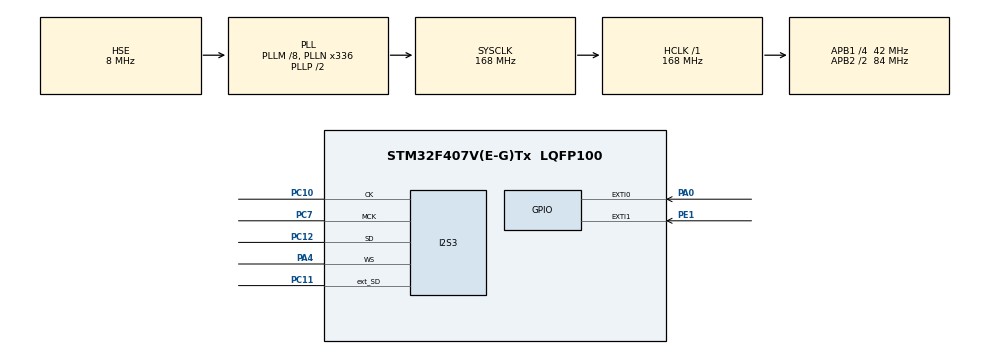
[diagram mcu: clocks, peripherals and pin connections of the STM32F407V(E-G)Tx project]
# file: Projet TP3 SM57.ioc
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I2S3.ErrorAudioFreq=-0.27 %
I2S3.FullDuplexMode=I2S_FULLDUPLEXMODE_ENABLE
I2S3.Instance=SPI$Index
I2S3.RealAudioFreq=7.978 KHz
I2S3.VirtualMode=I2S_MODE_MASTER
Mcu.Family=STM32F4
Mcu.Name=STM32F407V(E-G)Tx
Mcu.Package=LQFP100
NVIC.EXTI0_IRQn=true\:0\:0\:false\:false\:true\:true\:true\:true
NVIC.EXTI1_IRQn=true\:0\:0\:false\:false\:true\:true\:true\:true
NVIC.PriorityGroup=NVIC_PRIORITYGROUP_0
PA0-WKUP.GPIO_ModeDefaultEXTI=GPIO_MODE_IT_RISING_FALLING
PA0-WKUP.Signal=GPXTI0
PA13.Mode=Serial_Wire
PA13.Signal=SYS_JTMS-SWDIO
PA14.Mode=Serial_Wire
PA14.Signal=SYS_JTCK-SWCLK
PA4.Mode=Full_Duplex_Master
PA4.Signal=I2S3_WS
PC10.Mode=Full_Duplex_Master
PC10.Signal=I2S3_CK
PC11.Mode=Full_Duplex_Master
PC11.Signal=I2S3_ext_SD
PC12.Mode=Full_Duplex_Master
PC12.Signal=I2S3_SD
PC7.Mode=Master_Clock_Activated
PC7.Signal=I2S3_MCK
PE1.Signal=GPXTI1
PH0-OSC_IN.Mode=HSE-External-Oscillator
PH0-OSC_IN.Signal=RCC_OSC_IN
PH1-OSC_OUT.Mode=HSE-External-Oscillator
PH1-OSC_OUT.Signal=RCC_OSC_OUT
ProjectManager.HeapSize=0x200
ProjectManager.StackSize=0x400
ProjectManager.TargetToolchain=STM32CubeIDE
RCC.48MHZClocksFreq_Value=48000000
RCC.AHBFreq_Value=168000000
RCC.APB1CLKDivider=RCC_HCLK_DIV4
RCC.APB1Freq_Value=42000000
RCC.APB1TimFreq_Value=84000000
RCC.APB2CLKDivider=RCC_HCLK_DIV2
RCC.APB2Freq_Value=84000000
RCC.APB2TimFreq_Value=168000000
RCC.CortexFreq_Value=168000000
RCC.HCLKFreq_Value=168000000
RCC.HSE_VALUE=8000000
RCC.HSI_VALUE=16000000
RCC.LSE_VALUE=32768
RCC.PLLM=8
RCC.PLLN=336
RCC.PLLQ=7
RCC.PLLSourceVirtual=RCC_PLLSOURCE_HSE
RCC.SYSCLKFreq_VALUE=168000000
RCC.SYSCLKSource=RCC_SYSCLKSOURCE_PLLCLK
RCC.VCOOutputFreq_Value=336000000
VP_RTC_VS_RTC_Activate.Mode=RTC_Enabled
VP_RTC_VS_RTC_Calendar.Mode=RTC_Calendar
board=STM32F407G-DISC1

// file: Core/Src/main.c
/* USER CODE BEGIN Header */
/**
  ******************************************************************************
  * @file           : main.c
  * @brief          : Main program body
  ******************************************************************************
  * @attention
  *
  * Copyright (c) 2024 STMicroelectronics.
  * All rights reserved.
  *
  * This software is licensed under terms that can be found in the LICENSE file
  * in the root directory of this software component.
  * If no LICENSE file comes with this software, it is provided AS-IS.
  *
  ******************************************************************************
  */
/* USER CODE END Header */
#include "main.h"

/* USER CODE BEGIN Includes */
#include<stdio.h>
#include "usart2.h"
#include "rtc.h"
#include "spi.h"
#include "stm32f4xx_hal.h"
#include "accelerometre.h"
#include "dac.h"

/* USER CODE END Includes */

I2S_HandleTypeDef hi2s3;

RTC_HandleTypeDef hrtc;

/* USER CODE BEGIN PV */
int flag_process =0;
int flag_st = 0;
int tempsAppui = 0;
#define DUREE_APPUI_PROLONGE 3000
extern char received_buffer[24];
extern int received_index;
extern float X ;
extern float Y  ;
extern float Z ;

/* USER CODE END PV */

void SystemClock_Config(void);
static void MX_GPIO_Init(void);
static void MX_I2S3_Init(void);
static void MX_RTC_Init(void);

int main(void)
{

  /* MCU Configuration--------------------------------------------------------*/

  /* Reset of all peripherals, Initializes the Flash interface and the Systick. */
  HAL_Init();

  /* Configure the system clock */
  SystemClock_Config();

  /* Initialize all configured peripherals */
  MX_GPIO_Init();
  MX_I2S3_Init();
  MX_RTC_Init();
  /* USER CODE BEGIN 2 */
	//init_usart_int();
	//RTC_Init();
	//init_accel();
	//init_accel_ISR();
	// I2C init
  DAC_GPIO_Init();
	// GPIO init
	//DAC_GPIO_Init();
  MX_I2S3_Init();

  //timer start

  // I2C init
  init_I2C1();
  // GPIO init

  //DAC start
  DAC_Power_Up();
  Beep_Config(SHORT_BEEP, SHORT_SILENCE, HIGH_PITCHED_SOUND);
  /* USER CODE END 2 */

  /* Infinite loop */
  /* USER CODE BEGIN WHILE */
  while (1)
  {
		 Run_Alarm();

    /* USER CODE END WHILE */

    /* USER CODE BEGIN 3 */
	  	//accelReadnPrint(X,Y,Z);
 	/*	if (flag_process)
 		{
 		  process_received_data();
 		  flag_process = 0;
 		}

 		if (flag_st)
 		{
 		  SPIread(0x5F | 0x80);
 		  flag_st = 0;
 		  init_accel_ISR();
 		  //DAC start
 		  DAC_Power_Up();
 		  Beep_Config(MEDIUM_BEEP, SHORT_SILENCE, MEDIUM_SOUND);
 		  Run_Alarm();
 		 newLine();
		 serial_puts("HEURE DU VOL");
		 newLine();
		 serial_puts(RTC_get_time());
		 newLine();
		 serial_puts("JOUR DU VOL");
		 newLine();
		 serial_puts(RTC_get_date());
		 HAL_Delay(1000),
		 newLine();
 		}

   }*/
  /* USER CODE END 3 */
}
}

void SystemClock_Config(void)
{
  RCC_OscInitTypeDef RCC_OscInitStruct = {0};
  RCC_ClkInitTypeDef RCC_ClkInitStruct = {0};

  /** Configure the main internal regulator output voltage
  */
  __HAL_RCC_PWR_CLK_ENABLE();
  __HAL_PWR_VOLTAGESCALING_CONFIG(PWR_REGULATOR_VOLTAGE_SCALE1);

  /** Initializes the RCC Oscillators according to the specified parameters
  * in the RCC_OscInitTypeDef structure.
  */
  RCC_OscInitStruct.OscillatorType = RCC_OSCILLATORTYPE_LSI|RCC_OSCILLATORTYPE_HSE;
  RCC_OscInitStruct.HSEState = RCC_HSE_ON;
  RCC_OscInitStruct.LSIState = RCC_LSI_ON;
  RCC_OscInitStruct.PLL.PLLState = RCC_PLL_ON;
  RCC_OscInitStruct.PLL.PLLSource = RCC_PLLSOURCE_HSE;
  RCC_OscInitStruct.PLL.PLLM = 8;
  RCC_OscInitStruct.PLL.PLLN = 336;
  RCC_OscInitStruct.PLL.PLLP = RCC_PLLP_DIV2;
  RCC_OscInitStruct.PLL.PLLQ = 7;
  if (HAL_RCC_OscConfig(&RCC_OscInitStruct) != HAL_OK)
  {
    Error_Handler();
  }

  /** Initializes the CPU, AHB and APB buses clocks
  */
  RCC_ClkInitStruct.ClockType = RCC_CLOCKTYPE_HCLK|RCC_CLOCKTYPE_SYSCLK
                              |RCC_CLOCKTYPE_PCLK1|RCC_CLOCKTYPE_PCLK2;
  RCC_ClkInitStruct.SYSCLKSource = RCC_SYSCLKSOURCE_PLLCLK;
  RCC_ClkInitStruct.AHBCLKDivider = RCC_SYSCLK_DIV1;
  RCC_ClkInitStruct.APB1CLKDivider = RCC_HCLK_DIV4;
  RCC_ClkInitStruct.APB2CLKDivider = RCC_HCLK_DIV2;

  if (HAL_RCC_ClockConfig(&RCC_ClkInitStruct, FLASH_LATENCY_5) != HAL_OK)
  {
    Error_Handler();
  }
}

static void MX_I2S3_Init(void)
{

  hi2s3.Instance = SPI3;
  hi2s3.Init.Mode = I2S_MODE_MASTER_TX;
  hi2s3.Init.Standard = I2S_STANDARD_PHILIPS;
  hi2s3.Init.DataFormat = I2S_DATAFORMAT_16B;
  hi2s3.Init.MCLKOutput = I2S_MCLKOUTPUT_ENABLE;
  hi2s3.Init.AudioFreq = I2S_AUDIOFREQ_8K;
  hi2s3.Init.CPOL = I2S_CPOL_LOW;
  hi2s3.Init.ClockSource = I2S_CLOCK_PLL;
  hi2s3.Init.FullDuplexMode = I2S_FULLDUPLEXMODE_ENABLE;
  if (HAL_I2S_Init(&hi2s3) != HAL_OK)
  {
    Error_Handler();
  }

}

static void MX_RTC_Init(void)
{

  RTC_TimeTypeDef sTime = {0};
  RTC_DateTypeDef sDate = {0};

  /** Initialize RTC Only
  */
  hrtc.Instance = RTC;
  hrtc.Init.HourFormat = RTC_HOURFORMAT_24;
  hrtc.Init.AsynchPrediv = 127;
  hrtc.Init.SynchPrediv = 255;
  hrtc.Init.OutPut = RTC_OUTPUT_DISABLE;
  hrtc.Init.OutPutPolarity = RTC_OUTPUT_POLARITY_HIGH;
  hrtc.Init.OutPutType = RTC_OUTPUT_TYPE_OPENDRAIN;
  if (HAL_RTC_Init(&hrtc) != HAL_OK)
  {
    Error_Handler();
  }

  /** Initialize RTC and set the Time and Date
  */
  sTime.Hours = 0x0;
  sTime.Minutes = 0x0;
  sTime.Seconds = 0x0;
  sTime.DayLightSaving = RTC_DAYLIGHTSAVING_NONE;
  sTime.StoreOperation = RTC_STOREOPERATION_RESET;
  if (HAL_RTC_SetTime(&hrtc, &sTime, RTC_FORMAT_BCD) != HAL_OK)
  {
    Error_Handler();
  }
  sDate.WeekDay = RTC_WEEKDAY_MONDAY;
  sDate.Month = RTC_MONTH_JANUARY;
  sDate.Date = 0x1;
  sDate.Year = 0x0;

  if (HAL_RTC_SetDate(&hrtc, &sDate, RTC_FORMAT_BCD) != HAL_OK)
  {
    Error_Handler();
  }

}

static void MX_GPIO_Init(void)
{
  GPIO_InitTypeDef GPIO_InitStruct = {0};

  /* GPIO Ports Clock Enable */
  __HAL_RCC_GPIOH_CLK_ENABLE();
  __HAL_RCC_GPIOA_CLK_ENABLE();
  __HAL_RCC_GPIOC_CLK_ENABLE();
  __HAL_RCC_GPIOE_CLK_ENABLE();

  /*Configure GPIO pin : PA0 */
  GPIO_InitStruct.Pin = GPIO_PIN_0;
  GPIO_InitStruct.Mode = GPIO_MODE_IT_RISING_FALLING;
  GPIO_InitStruct.Pull = GPIO_NOPULL;
  HAL_GPIO_Init(GPIOA, &GPIO_InitStruct);

  /*Configure GPIO pin : PE1 */
  GPIO_InitStruct.Pin = GPIO_PIN_1;
  GPIO_InitStruct.Mode = GPIO_MODE_IT_RISING;
  GPIO_InitStruct.Pull = GPIO_NOPULL;
  HAL_GPIO_Init(GPIOE, &GPIO_InitStruct);

  /* EXTI interrupt init*/
  HAL_NVIC_SetPriority(EXTI0_IRQn, 0, 0);
  HAL_NVIC_EnableIRQ(EXTI0_IRQn);

  HAL_NVIC_SetPriority(EXTI1_IRQn, 0, 0);
  HAL_NVIC_EnableIRQ(EXTI1_IRQn);

}

/* USER CODE BEGIN 4 */
void HAL_GPIO_EXTI_Callback(uint16_t GPIO_Pin) {
	/*
if (GPIO_Pin == GPIO_PIN_0) {
	if (HAL_GPIO_ReadPin(GPIOA, GPIO_PIN_0) == GPIO_PIN_SET) {
		// La broche PA0 a déclenché l'interruption et est à l'état haut
		static uint32_t last_interrupt_time = 0;
		uint32_t current_time = HAL_GetTick(); // Get the current system tick
		// Check if enough time has elapsed since the last interrupt
		if (current_time - last_interrupt_time > 200) { // 200ms debounce time
		   for (int i = 0; i < 24; ++i) {
			   received_buffer[i] = 0; // Assignation de zéro à chaque élément du buffer
			}
			received_index = 0;
			flag_process = 1;
			last_interrupt_time = current_time;
			tempsAppui = HAL_GetTick();
		}
	}
	else {
		// La broche PA0 a déclenché l'interruption et est à l'état bas
        if ((HAL_GetTick() - tempsAppui) >= DUREE_APPUI_PROLONGE) {
            // Si le temps écoulé depuis l'appui initial est supérieur ou égal à la durée d'appui prolongé
			DAC_Power_Down();
			tempsAppui = 0;
	 		 newLine();
			 serial_puts("Alarme OFF");
			 newLine();
        }
	}

}
if (GPIO_Pin == GPIO_PIN_1) {
	flag_st = 1 ;
}
else {
      __NOP();
  }
*/
}
/* USER CODE END 4 */

void Error_Handler(void)
{
  __disable_irq();
  while (1)
  {
  }
}
